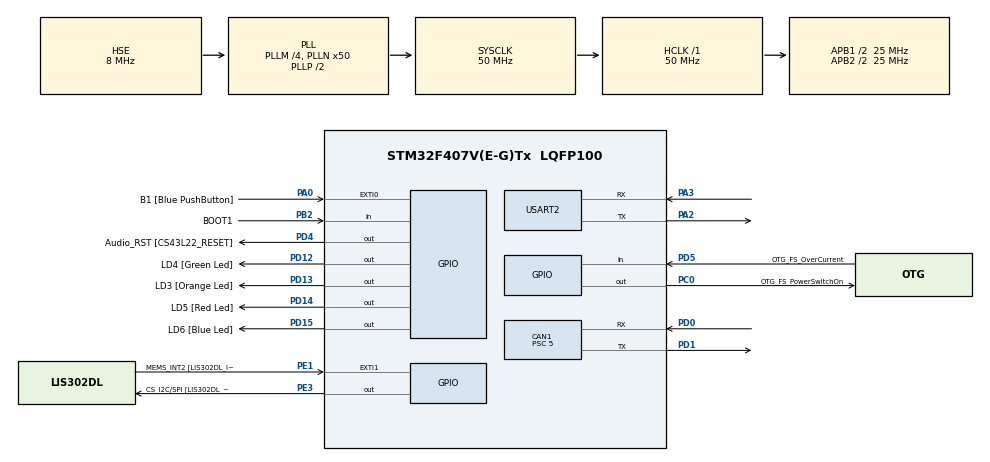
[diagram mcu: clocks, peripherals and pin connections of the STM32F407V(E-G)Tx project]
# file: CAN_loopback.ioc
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CAN1.BS1=CAN_BS1_8TQ
CAN1.CalculateBaudRate=500000
CAN1.CalculateTimeBit=2000
CAN1.CalculateTimeQuantum=200.0
CAN1.Prescaler=5
Mcu.Family=STM32F4
Mcu.Name=STM32F407V(E-G)Tx
Mcu.Package=LQFP100
NVIC.CAN1_TX_IRQn=true\:0\:0\:false\:false\:true\:true\:true\:true
NVIC.PriorityGroup=NVIC_PRIORITYGROUP_0
PA0-WKUP.GPIO_Label=B1 [Blue PushButton]
PA0-WKUP.Signal=GPXTI0
PA10.GPIO_Label=OTG_FS_ID
PA10.GPIO_Mode=GPIO_MODE_AF_PP
PA10.GPIO_PuPd=GPIO_NOPULL
PA10.GPIO_Speed=GPIO_SPEED_FREQ_LOW
PA10.Signal=USB_OTG_FS_ID
PA11.GPIO_Label=OTG_FS_DM
PA11.GPIO_Mode=GPIO_MODE_AF_PP
PA11.GPIO_PuPd=GPIO_NOPULL
PA11.GPIO_Speed=GPIO_SPEED_FREQ_LOW
PA11.Signal=USB_OTG_FS_DM
PA12.GPIO_Label=OTG_FS_DP
PA12.GPIO_Mode=GPIO_MODE_AF_PP
PA12.GPIO_PuPd=GPIO_NOPULL
PA12.GPIO_Speed=GPIO_SPEED_FREQ_LOW
PA12.Signal=USB_OTG_FS_DP
PA13.GPIO_Label=SWDIO
PA13.Signal=SYS_JTMS-SWDIO
PA14.GPIO_Label=SWCLK
PA14.Signal=SYS_JTCK-SWCLK
PA2.Mode=Asynchronous
PA2.Signal=USART2_TX
PA3.Mode=Asynchronous
PA3.Signal=USART2_RX
PA4.GPIO_Label=I2S3_WS [CS43L22_LRCK]
PA4.GPIO_Mode=GPIO_MODE_AF_PP
PA4.GPIO_PuPd=GPIO_NOPULL
PA4.GPIO_Speed=GPIO_SPEED_FREQ_LOW
PA4.Signal=I2S3_WS
PA5.GPIO_Label=SPI1_SCK [LIS302DL_SCL/SPC]
PA5.GPIO_Mode=GPIO_MODE_AF_PP
PA5.GPIO_PuPd=GPIO_NOPULL
PA5.GPIO_Speed=GPIO_SPEED_FREQ_LOW
PA5.Signal=SPI1_SCK
PA6.GPIO_Label=SPI1_MISO [LIS302DL_SDO]
PA6.GPIO_Mode=GPIO_MODE_AF_PP
PA6.GPIO_PuPd=GPIO_NOPULL
PA6.GPIO_Speed=GPIO_SPEED_FREQ_LOW
PA6.Signal=SPI1_MISO
PA7.GPIO_Label=SPI1_MOSI [LIS302DL_SDA/SDI/SDO]
PA7.GPIO_Mode=GPIO_MODE_AF_PP
PA7.GPIO_PuPd=GPIO_NOPULL
PA7.GPIO_Speed=GPIO_SPEED_FREQ_LOW
PA7.Signal=SPI1_MOSI
PA9.GPIO_Label=VBUS_FS
PA9.GPIO_Mode=GPIO_MODE_INPUT
PA9.GPIO_PuPd=GPIO_NOPULL
PA9.Signal=USB_OTG_FS_VBUS
PB10.GPIO_Label=CLK_IN [MP45DT02_CLK]
PB10.GPIO_Mode=GPIO_MODE_AF_PP
PB10.GPIO_PuPd=GPIO_NOPULL
PB10.GPIO_Speed=GPIO_SPEED_FREQ_LOW
PB10.Signal=I2S2_CK
PB2.GPIO_Label=BOOT1
PB2.GPIO_Mode=GPIO_MODE_INPUT
PB2.GPIO_PuPd=GPIO_NOPULL
PB2.Signal=GPIO_Input
PB3.GPIO_Label=SWO
PB3.Signal=SYS_JTDO-SWO
PB6.GPIO_Label=Audio_SCL [CS43L22_SCL]
PB6.GPIO_Mode=GPIO_MODE_AF_OD
PB6.GPIO_PuPd=GPIO_NOPULL
PB6.GPIO_Speed=GPIO_SPEED_FREQ_LOW
PB6.Signal=I2C1_SCL
PB9.GPIO_Label=Audio_SDA [CS43L22_SDA]
PB9.GPIO_Mode=GPIO_MODE_AF_OD
PB9.GPIO_PuPd=GPIO_NOPULL
PB9.GPIO_Speed=GPIO_SPEED_FREQ_LOW
PB9.Signal=I2C1_SDA
PC0.GPIO_Label=OTG_FS_PowerSwitchOn
PC0.GPIO_PuPd=GPIO_NOPULL
PC0.GPIO_Speed=GPIO_SPEED_FREQ_LOW
PC0.PinState=GPIO_PIN_SET
PC0.Signal=GPIO_Output
PC10.GPIO_Label=I2S3_SCK [CS43L22_SCLK]
PC10.GPIO_Mode=GPIO_MODE_AF_PP
PC10.GPIO_PuPd=GPIO_NOPULL
PC10.GPIO_Speed=GPIO_SPEED_FREQ_LOW
PC10.Signal=I2S3_CK
PC12.GPIO_Label=I2S3_SD [CS43L22_SDIN]
PC12.GPIO_Mode=GPIO_MODE_AF_PP
PC12.GPIO_PuPd=GPIO_NOPULL
PC12.GPIO_Speed=GPIO_SPEED_FREQ_LOW
PC12.Signal=I2S3_SD
PC14-OSC32_IN.GPIO_Label=PC14-OSC32_IN
PC14-OSC32_IN.Signal=RCC_OSC32_IN
PC15-OSC32_OUT.GPIO_Label=PC15-OSC32_OUT
PC15-OSC32_OUT.Signal=RCC_OSC32_OUT
PC3.GPIO_Label=PDM_OUT [MP45DT02_DOUT]
PC3.GPIO_Mode=GPIO_MODE_AF_PP
PC3.GPIO_PuPd=GPIO_NOPULL
PC3.GPIO_Speed=GPIO_SPEED_FREQ_LOW
PC3.Signal=I2S2_SD
PC7.GPIO_Label=I2S3_MCK [CS43L22_MCLK]
PC7.GPIO_Mode=GPIO_MODE_AF_PP
PC7.GPIO_PuPd=GPIO_NOPULL
PC7.GPIO_Speed=GPIO_SPEED_FREQ_LOW
PC7.Signal=I2S3_MCK
PD0.Mode=CAN_Activate
PD0.Signal=CAN1_RX
PD1.Mode=CAN_Activate
PD1.Signal=CAN1_TX
PD12.GPIO_Label=LD4 [Green Led]
PD12.GPIO_PuPd=GPIO_NOPULL
PD12.GPIO_Speed=GPIO_SPEED_FREQ_LOW
PD12.Signal=GPIO_Output
PD13.GPIO_Label=LD3 [Orange Led]
PD13.GPIO_PuPd=GPIO_NOPULL
PD13.GPIO_Speed=GPIO_SPEED_FREQ_LOW
PD13.Signal=GPIO_Output
PD14.GPIO_Label=LD5 [Red Led]
PD14.GPIO_PuPd=GPIO_NOPULL
PD14.GPIO_Speed=GPIO_SPEED_FREQ_LOW
PD14.Signal=GPIO_Output
PD15.GPIO_Label=LD6 [Blue Led]
PD15.GPIO_PuPd=GPIO_NOPULL
PD15.GPIO_Speed=GPIO_SPEED_FREQ_LOW
PD15.Signal=GPIO_Output
PD4.GPIO_Label=Audio_RST [CS43L22_RESET]
PD4.GPIO_PuPd=GPIO_NOPULL
PD4.GPIO_Speed=GPIO_SPEED_FREQ_LOW
PD4.Signal=GPIO_Output
PD5.GPIO_Label=OTG_FS_OverCurrent
PD5.GPIO_Mode=GPIO_MODE_INPUT
PD5.GPIO_PuPd=GPIO_NOPULL
PD5.Signal=GPIO_Input
PE1.GPIO_Label=MEMS_INT2 [LIS302DL_INT2]
PE1.GPIO_ModeDefaultEXTI=GPIO_MODE_EVT_RISING
PE1.GPIO_PuPd=GPIO_NOPULL
PE1.Signal=GPXTI1
PE3.GPIO_Label=CS_I2C/SPI [LIS302DL_CS_I2C/SPI]
PE3.GPIO_PuPd=GPIO_NOPULL
PE3.GPIO_Speed=GPIO_SPEED_FREQ_LOW
PE3.Signal=GPIO_Output
PH0-OSC_IN.GPIO_Label=PH0-OSC_IN
PH0-OSC_IN.Mode=HSE-External-Oscillator
PH0-OSC_IN.Signal=RCC_OSC_IN
PH1-OSC_OUT.GPIO_Label=PH1-OSC_OUT
PH1-OSC_OUT.Mode=HSE-External-Oscillator
PH1-OSC_OUT.Signal=RCC_OSC_OUT
ProjectManager.HeapSize=0x200
ProjectManager.StackSize=0x400
ProjectManager.TargetToolchain=STM32CubeIDE
RCC.48MHZClocksFreq_Value=14285714.285714285
RCC.AHBFreq_Value=50000000
RCC.APB1CLKDivider=RCC_HCLK_DIV2
RCC.APB1Freq_Value=25000000
RCC.APB1TimFreq_Value=50000000
RCC.APB2CLKDivider=RCC_HCLK_DIV2
RCC.APB2Freq_Value=25000000
RCC.APB2TimFreq_Value=50000000
RCC.CortexFreq_Value=50000000
RCC.HCLKFreq_Value=50000000
RCC.HSE_VALUE=8000000
RCC.HSI_VALUE=16000000
RCC.LSE_VALUE=32768
RCC.PLLM=4
RCC.PLLN=50
RCC.PLLQ=7
RCC.PLLSourceVirtual=RCC_PLLSOURCE_HSE
RCC.SYSCLKFreq_VALUE=50000000
RCC.SYSCLKSource=RCC_SYSCLKSOURCE_PLLCLK
RCC.VCOOutputFreq_Value=100000000
USART2.VirtualMode=VM_ASYNC
board=STM32F407G-DISC1

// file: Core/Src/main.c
/* USER CODE BEGIN Header */
/**
 ******************************************************************************
 * @file           : main.c
 * @brief          : Main program body
 ******************************************************************************
 * @attention
 *
 * Copyright (c) 2024 STMicroelectronics.
 * All rights reserved.
 *
 * This software is licensed under terms that can be found in the LICENSE file
 * in the root directory of this software component.
 * If no LICENSE file comes with this software, it is provided AS-IS.
 *
 ******************************************************************************
 */
/* USER CODE END Header */
#include "main.h"

/* USER CODE BEGIN Includes */
#include <string.h>
#include <stdio.h>
/* USER CODE END Includes */

CAN_HandleTypeDef hcan1;

UART_HandleTypeDef huart2;

void SystemClock_Config(void);
static void MX_GPIO_Init(void);
static void MX_CAN1_Init(void);
static void MX_USART2_UART_Init(void);
/* USER CODE BEGIN PFP */
void CAN1_Tx(void);
void CAN1_Rx(void);
void CAN_Filter_Config(void);
/* USER CODE END PFP */

/* USER CODE BEGIN 0 */
void CAN_Filter_Config(void) {
	/**
	 * Filter which message we want to receive.
	 * We will set to acce[t all.
	 * That's why the ID and Mask filter are all set to 0.
	 * We will use IDMASK, which just means ID mode.
	 * To check in logic analyzer set the bit rate to 500 kbps (500,000)
	 */
	CAN_FilterTypeDef can1_filter_init;

	can1_filter_init.FilterActivation = ENABLE;
	can1_filter_init.FilterBank = 0;
	can1_filter_init.FilterFIFOAssignment = CAN_RX_FIFO0;
	can1_filter_init.FilterIdHigh = 0x0000;
	can1_filter_init.FilterIdLow = 0x0000;
	can1_filter_init.FilterMaskIdHigh = 0x0000;
	can1_filter_init.FilterMaskIdLow = 0x0000;
	can1_filter_init.FilterMode = CAN_FILTERMODE_IDMASK;
	can1_filter_init.FilterScale = CAN_FILTERSCALE_32BIT;

	if (HAL_CAN_ConfigFilter(&hcan1, &can1_filter_init) != HAL_OK) {
		Error_Handler();
	}

}

void CAN1_Tx(void) {

	// Define message.
	uint8_t hello[5] = { 'H', 'e', 'l', 'l', 'o' };

	// Define mailbox.
	uint32_t txMailbox;

	// Define header.
	CAN_TxHeaderTypeDef txHeader;
	txHeader.DLC = 5; // Data length count
	txHeader.StdId = 0x65D; // Arbitrary number
	txHeader.IDE = CAN_ID_STD; // Standard or External frame
	txHeader.RTR = CAN_RTR_DATA; // Type of frame: Data or request/remote

	// In this function, the mailbox will be updated.
	// 1. Trigger transmission here.
	if (HAL_CAN_AddTxMessage(&hcan1, &txHeader, (uint8_t*) hello, &txMailbox)
			!= HAL_OK) {
		char *error_msg = "Error while triggering transmit\r\n";
		HAL_UART_Transmit(&huart2, (uint8_t*) error_msg, strlen(error_msg),
				HAL_MAX_DELAY);
		Error_Handler();
	}

	// 2. Pending state, mailbox is filled (wait til its scheduled).
	// This message will be scheduled if priority is highest.
	while (HAL_CAN_IsTxMessagePending(&hcan1, txMailbox))
		;

	// 3. Bus is idle here, compete in arbitration. If arbitration wins,
	// transmit will succeed then the mailbox will be empty again.
	char *msg = "Message transmitted\r\n";
	HAL_UART_Transmit(&huart2, (uint8_t*) msg, strlen(msg), HAL_MAX_DELAY);

}

void CAN1_Rx(void) {
	CAN_RxHeaderTypeDef RxHeader;
	uint8_t rcvd_msg[5];

	// 1. We are waiting for at least one message in to the RX FIFO0.
	// If it return 0, then there is no message.
	// We already set in config that we want FIFO number 0.
	// So we are waiting until it returns non 0 value.
	while (!HAL_CAN_GetRxFifoFillLevel(&hcan1, CAN_RX_FIFO0))
		;

	// 2. Get message from CAN Rx pin and store it in RxHeader.
	if (HAL_CAN_GetRxMessage(&hcan1, CAN_RX_FIFO0, &RxHeader, rcvd_msg)
			!= HAL_OK) {
		Error_Handler();
	}

	// 3. Log the received message to UART.
	// Question: We will not see this in Logic Analyzer if we connect Rx GPIO Pin. Why?
	char uart_msg[50];
	sprintf(uart_msg, "Message Received : %s\r\n", rcvd_msg);
	HAL_UART_Transmit(&huart2, (uint8_t*) uart_msg, strlen(uart_msg),
			HAL_MAX_DELAY);

}
/* USER CODE END 0 */

int main(void) {

	/* MCU Configuration--------------------------------------------------------*/

	/* Reset of all peripherals, Initializes the Flash interface and the Systick. */
	HAL_Init();

	/* Configure the system clock */
	SystemClock_Config();

	/* Initialize all configured peripherals */
	MX_GPIO_Init();
	MX_CAN1_Init();
	MX_USART2_UART_Init();

	/* Infinite loop */
	/* USER CODE BEGIN WHILE */

	// 1. Configure which message we want to receive.
	CAN_Filter_Config();

	while (1) {
		/* USER CODE END WHILE */

		/* USER CODE BEGIN 3 */
		// 2. Start the CAN module.
		char *msg = "Start the CAN module\r\n";
		HAL_UART_Transmit(&huart2, (uint8_t*) msg, strlen(msg), HAL_MAX_DELAY);
		if (HAL_CAN_Start(&hcan1) != HAL_OK) {
			Error_Handler();
		}
		msg = "Finish starting CAN module\r\n";
		HAL_UART_Transmit(&huart2, (uint8_t*) msg, strlen(msg), HAL_MAX_DELAY);

		// 3. Send and receive.
		// Because its in loopback, Rx will just receive the same message.
		CAN1_Tx();
		CAN1_Rx();
		/* USER CODE END 3 */
	}
}

void SystemClock_Config(void) {
	RCC_OscInitTypeDef RCC_OscInitStruct = { 0 };
	RCC_ClkInitTypeDef RCC_ClkInitStruct = { 0 };

	/** Configure the main internal regulator output voltage
	 */
	__HAL_RCC_PWR_CLK_ENABLE();
	__HAL_PWR_VOLTAGESCALING_CONFIG(PWR_REGULATOR_VOLTAGE_SCALE1);

	/** Initializes the RCC Oscillators according to the specified parameters
	 * in the RCC_OscInitTypeDef structure.
	 */
	RCC_OscInitStruct.OscillatorType = RCC_OSCILLATORTYPE_HSE;
	RCC_OscInitStruct.HSEState = RCC_HSE_ON;
	RCC_OscInitStruct.PLL.PLLState = RCC_PLL_ON;
	RCC_OscInitStruct.PLL.PLLSource = RCC_PLLSOURCE_HSE;
	RCC_OscInitStruct.PLL.PLLM = 4;
	RCC_OscInitStruct.PLL.PLLN = 50;
	RCC_OscInitStruct.PLL.PLLP = RCC_PLLP_DIV2;
	RCC_OscInitStruct.PLL.PLLQ = 7;
	if (HAL_RCC_OscConfig(&RCC_OscInitStruct) != HAL_OK) {
		Error_Handler();
	}

	/** Initializes the CPU, AHB and APB buses clocks
	 */
	RCC_ClkInitStruct.ClockType = RCC_CLOCKTYPE_HCLK | RCC_CLOCKTYPE_SYSCLK
			| RCC_CLOCKTYPE_PCLK1 | RCC_CLOCKTYPE_PCLK2;
	RCC_ClkInitStruct.SYSCLKSource = RCC_SYSCLKSOURCE_PLLCLK;
	RCC_ClkInitStruct.AHBCLKDivider = RCC_SYSCLK_DIV1;
	RCC_ClkInitStruct.APB1CLKDivider = RCC_HCLK_DIV2;
	RCC_ClkInitStruct.APB2CLKDivider = RCC_HCLK_DIV2;

	if (HAL_RCC_ClockConfig(&RCC_ClkInitStruct, FLASH_LATENCY_1) != HAL_OK) {
		Error_Handler();
	}
}

static void MX_CAN1_Init(void) {

	/* USER CODE BEGIN CAN1_Init 0 */
	// If there is no ACK, and AutoRetransmission is enabled,
	// then the controller will retransmit the message.
	// But this is not true in the loopback mode.
	// ACK errors will be ignored in loopback mode.
	// Question: If the mode is set to normal, not loopback, we cannot see the data in logic analyzer why?
	/* USER CODE END CAN1_Init 0 */

	/* USER CODE BEGIN CAN1_Init 1 */
	// FIFO Locked disable means we always want the latest message.
	/* USER CODE END CAN1_Init 1 */
	hcan1.Instance = CAN1;
	hcan1.Init.Prescaler = 5;
	hcan1.Init.Mode = CAN_MODE_LOOPBACK;
	hcan1.Init.SyncJumpWidth = CAN_SJW_1TQ;
	hcan1.Init.TimeSeg1 = CAN_BS1_8TQ;
	hcan1.Init.TimeSeg2 = CAN_BS2_1TQ;
	hcan1.Init.TimeTriggeredMode = DISABLE;
	hcan1.Init.AutoBusOff = DISABLE;
	hcan1.Init.AutoWakeUp = DISABLE;
	hcan1.Init.AutoRetransmission = DISABLE;
	hcan1.Init.ReceiveFifoLocked = DISABLE;
	hcan1.Init.TransmitFifoPriority = DISABLE;
	if (HAL_CAN_Init(&hcan1) != HAL_OK) {
		Error_Handler();
	}

}

static void MX_USART2_UART_Init(void) {

	huart2.Instance = USART2;
	huart2.Init.BaudRate = 115200;
	huart2.Init.WordLength = UART_WORDLENGTH_8B;
	huart2.Init.StopBits = UART_STOPBITS_1;
	huart2.Init.Parity = UART_PARITY_NONE;
	huart2.Init.Mode = UART_MODE_TX_RX;
	huart2.Init.HwFlowCtl = UART_HWCONTROL_NONE;
	huart2.Init.OverSampling = UART_OVERSAMPLING_16;
	if (HAL_UART_Init(&huart2) != HAL_OK) {
		Error_Handler();
	}

}

static void MX_GPIO_Init(void) {
	GPIO_InitTypeDef GPIO_InitStruct = { 0 };

	/* GPIO Ports Clock Enable */
	__HAL_RCC_GPIOE_CLK_ENABLE();
	__HAL_RCC_GPIOC_CLK_ENABLE();
	__HAL_RCC_GPIOH_CLK_ENABLE();
	__HAL_RCC_GPIOA_CLK_ENABLE();
	__HAL_RCC_GPIOB_CLK_ENABLE();
	__HAL_RCC_GPIOD_CLK_ENABLE();

	/*Configure GPIO pin Output Level */
	HAL_GPIO_WritePin(CS_I2C_SPI_GPIO_Port, CS_I2C_SPI_Pin, GPIO_PIN_RESET);

	/*Configure GPIO pin Output Level */
	HAL_GPIO_WritePin(OTG_FS_PowerSwitchOn_GPIO_Port,
	OTG_FS_PowerSwitchOn_Pin, GPIO_PIN_SET);

	/*Configure GPIO pin Output Level */
	HAL_GPIO_WritePin(GPIOD,
	LD4_Pin | LD3_Pin | LD5_Pin | LD6_Pin | Audio_RST_Pin, GPIO_PIN_RESET);

	/*Configure GPIO pin : CS_I2C_SPI_Pin */
	GPIO_InitStruct.Pin = CS_I2C_SPI_Pin;
	GPIO_InitStruct.Mode = GPIO_MODE_OUTPUT_PP;
	GPIO_InitStruct.Pull = GPIO_NOPULL;
	GPIO_InitStruct.Speed = GPIO_SPEED_FREQ_LOW;
	HAL_GPIO_Init(CS_I2C_SPI_GPIO_Port, &GPIO_InitStruct);

	/*Configure GPIO pin : OTG_FS_PowerSwitchOn_Pin */
	GPIO_InitStruct.Pin = OTG_FS_PowerSwitchOn_Pin;
	GPIO_InitStruct.Mode = GPIO_MODE_OUTPUT_PP;
	GPIO_InitStruct.Pull = GPIO_NOPULL;
	GPIO_InitStruct.Speed = GPIO_SPEED_FREQ_LOW;
	HAL_GPIO_Init(OTG_FS_PowerSwitchOn_GPIO_Port, &GPIO_InitStruct);

	/*Configure GPIO pin : PDM_OUT_Pin */
	GPIO_InitStruct.Pin = PDM_OUT_Pin;
	GPIO_InitStruct.Mode = GPIO_MODE_AF_PP;
	GPIO_InitStruct.Pull = GPIO_NOPULL;
	GPIO_InitStruct.Speed = GPIO_SPEED_FREQ_LOW;
	GPIO_InitStruct.Alternate = GPIO_AF5_SPI2;
	HAL_GPIO_Init(PDM_OUT_GPIO_Port, &GPIO_InitStruct);

	/*Configure GPIO pin : B1_Pin */
	GPIO_InitStruct.Pin = B1_Pin;
	GPIO_InitStruct.Mode = GPIO_MODE_IT_RISING;
	GPIO_InitStruct.Pull = GPIO_NOPULL;
	HAL_GPIO_Init(B1_GPIO_Port, &GPIO_InitStruct);

	/*Configure GPIO pin : I2S3_WS_Pin */
	GPIO_InitStruct.Pin = I2S3_WS_Pin;
	GPIO_InitStruct.Mode = GPIO_MODE_AF_PP;
	GPIO_InitStruct.Pull = GPIO_NOPULL;
	GPIO_InitStruct.Speed = GPIO_SPEED_FREQ_LOW;
	GPIO_InitStruct.Alternate = GPIO_AF6_SPI3;
	HAL_GPIO_Init(I2S3_WS_GPIO_Port, &GPIO_InitStruct);

	/*Configure GPIO pins : SPI1_SCK_Pin SPI1_MISO_Pin SPI1_MOSI_Pin */
	GPIO_InitStruct.Pin = SPI1_SCK_Pin | SPI1_MISO_Pin | SPI1_MOSI_Pin;
	GPIO_InitStruct.Mode = GPIO_MODE_AF_PP;
	GPIO_InitStruct.Pull = GPIO_NOPULL;
	GPIO_InitStruct.Speed = GPIO_SPEED_FREQ_LOW;
	GPIO_InitStruct.Alternate = GPIO_AF5_SPI1;
	HAL_GPIO_Init(GPIOA, &GPIO_InitStruct);

	/*Configure GPIO pin : BOOT1_Pin */
	GPIO_InitStruct.Pin = BOOT1_Pin;
	GPIO_InitStruct.Mode = GPIO_MODE_INPUT;
	GPIO_InitStruct.Pull = GPIO_NOPULL;
	HAL_GPIO_Init(BOOT1_GPIO_Port, &GPIO_InitStruct);

	/*Configure GPIO pin : CLK_IN_Pin */
	GPIO_InitStruct.Pin = CLK_IN_Pin;
	GPIO_InitStruct.Mode = GPIO_MODE_AF_PP;
	GPIO_InitStruct.Pull = GPIO_NOPULL;
	GPIO_InitStruct.Speed = GPIO_SPEED_FREQ_LOW;
	GPIO_InitStruct.Alternate = GPIO_AF5_SPI2;
	HAL_GPIO_Init(CLK_IN_GPIO_Port, &GPIO_InitStruct);

	/*Configure GPIO pins : LD4_Pin LD3_Pin LD5_Pin LD6_Pin
	 Audio_RST_Pin */
	GPIO_InitStruct.Pin = LD4_Pin | LD3_Pin | LD5_Pin | LD6_Pin | Audio_RST_Pin;
	GPIO_InitStruct.Mode = GPIO_MODE_OUTPUT_PP;
	GPIO_InitStruct.Pull = GPIO_NOPULL;
	GPIO_InitStruct.Speed = GPIO_SPEED_FREQ_LOW;
	HAL_GPIO_Init(GPIOD, &GPIO_InitStruct);

	/*Configure GPIO pins : I2S3_MCK_Pin I2S3_SCK_Pin I2S3_SD_Pin */
	GPIO_InitStruct.Pin = I2S3_MCK_Pin | I2S3_SCK_Pin | I2S3_SD_Pin;
	GPIO_InitStruct.Mode = GPIO_MODE_AF_PP;
	GPIO_InitStruct.Pull = GPIO_NOPULL;
	GPIO_InitStruct.Speed = GPIO_SPEED_FREQ_LOW;
	GPIO_InitStruct.Alternate = GPIO_AF6_SPI3;
	HAL_GPIO_Init(GPIOC, &GPIO_InitStruct);

	/*Configure GPIO pin : VBUS_FS_Pin */
	GPIO_InitStruct.Pin = VBUS_FS_Pin;
	GPIO_InitStruct.Mode = GPIO_MODE_INPUT;
	GPIO_InitStruct.Pull = GPIO_NOPULL;
	HAL_GPIO_Init(VBUS_FS_GPIO_Port, &GPIO_InitStruct);

	/*Configure GPIO pins : OTG_FS_ID_Pin OTG_FS_DM_Pin OTG_FS_DP_Pin */
	GPIO_InitStruct.Pin = OTG_FS_ID_Pin | OTG_FS_DM_Pin | OTG_FS_DP_Pin;
	GPIO_InitStruct.Mode = GPIO_MODE_AF_PP;
	GPIO_InitStruct.Pull = GPIO_NOPULL;
	GPIO_InitStruct.Speed = GPIO_SPEED_FREQ_LOW;
	GPIO_InitStruct.Alternate = GPIO_AF10_OTG_FS;
	HAL_GPIO_Init(GPIOA, &GPIO_InitStruct);

	/*Configure GPIO pin : OTG_FS_OverCurrent_Pin */
	GPIO_InitStruct.Pin = OTG_FS_OverCurrent_Pin;
	GPIO_InitStruct.Mode = GPIO_MODE_INPUT;
	GPIO_InitStruct.Pull = GPIO_NOPULL;
	HAL_GPIO_Init(OTG_FS_OverCurrent_GPIO_Port, &GPIO_InitStruct);

	/*Configure GPIO pins : Audio_SCL_Pin Audio_SDA_Pin */
	GPIO_InitStruct.Pin = Audio_SCL_Pin | Audio_SDA_Pin;
	GPIO_InitStruct.Mode = GPIO_MODE_AF_OD;
	GPIO_InitStruct.Pull = GPIO_NOPULL;
	GPIO_InitStruct.Speed = GPIO_SPEED_FREQ_LOW;
	GPIO_InitStruct.Alternate = GPIO_AF4_I2C1;
	HAL_GPIO_Init(GPIOB, &GPIO_InitStruct);

	/*Configure GPIO pin : MEMS_INT2_Pin */
	GPIO_InitStruct.Pin = MEMS_INT2_Pin;
	GPIO_InitStruct.Mode = GPIO_MODE_EVT_RISING;
	GPIO_InitStruct.Pull = GPIO_NOPULL;
	HAL_GPIO_Init(MEMS_INT2_GPIO_Port, &GPIO_InitStruct);

}

void Error_Handler(void) {
	__disable_irq();
	while (1) {
	}
}
